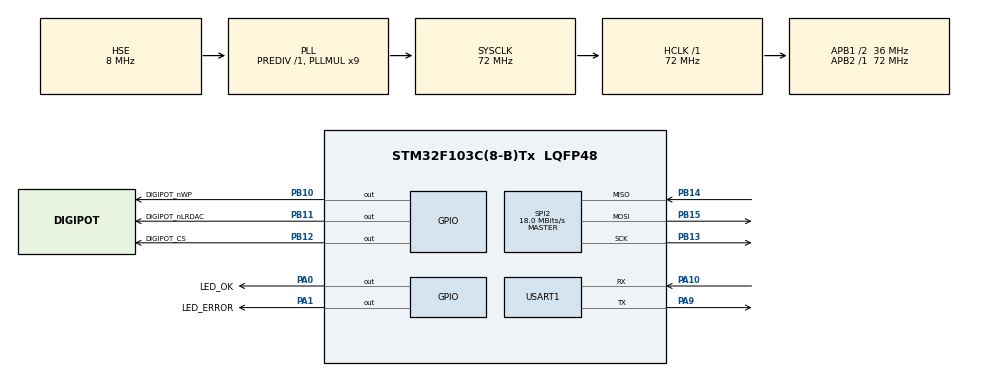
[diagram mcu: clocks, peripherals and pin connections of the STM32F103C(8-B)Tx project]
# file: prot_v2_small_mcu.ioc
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Mcu.Family=STM32F1
Mcu.Name=STM32F103C(8-B)Tx
Mcu.Package=LQFP48
NVIC.PriorityGroup=NVIC_PRIORITYGROUP_4
NVIC.USART1_IRQn=true\:0\:0\:false\:false\:true\:true\:true\:true
PA0-WKUP.GPIO_Label=LED_OK
PA0-WKUP.Signal=GPIO_Output
PA1.GPIO_Label=LED_ERROR
PA1.Signal=GPIO_Output
PA10.Mode=Asynchronous
PA10.Signal=USART1_RX
PA13.Mode=Serial_Wire
PA13.Signal=SYS_JTMS-SWDIO
PA14.Mode=Serial_Wire
PA14.Signal=SYS_JTCK-SWCLK
PA9.Mode=Asynchronous
PA9.Signal=USART1_TX
PB10.GPIO_Label=DIGIPOT_nWP
PB10.Signal=GPIO_Output
PB11.GPIO_Label=DIGIPOT_nLRDAC
PB11.Signal=GPIO_Output
PB12.GPIO_Label=DIGIPOT_CS
PB12.Signal=GPIO_Output
PB13.Mode=Full_Duplex_Master
PB13.Signal=SPI2_SCK
PB14.Mode=Full_Duplex_Master
PB14.Signal=SPI2_MISO
PB15.Mode=Full_Duplex_Master
PB15.Signal=SPI2_MOSI
PD0-OSC_IN.Mode=HSE-External-Oscillator
PD0-OSC_IN.Signal=RCC_OSC_IN
PD1-OSC_OUT.Mode=HSE-External-Oscillator
PD1-OSC_OUT.Signal=RCC_OSC_OUT
ProjectManager.HeapSize=0x200
ProjectManager.StackSize=0x400
ProjectManager.TargetToolchain=STM32CubeIDE
RCC.AHBFreq_Value=72000000
RCC.APB1CLKDivider=RCC_HCLK_DIV2
RCC.APB1Freq_Value=36000000
RCC.APB1TimFreq_Value=72000000
RCC.APB2Freq_Value=72000000
RCC.APB2TimFreq_Value=72000000
RCC.HCLKFreq_Value=72000000
RCC.PLLMUL=RCC_PLL_MUL9
RCC.PLLSourceVirtual=RCC_PLLSOURCE_HSE
RCC.SYSCLKFreq_VALUE=72000000
RCC.SYSCLKSource=RCC_SYSCLKSOURCE_PLLCLK
RCC.USBFreq_Value=72000000
SPI2.BaudRatePrescaler=SPI_BAUDRATEPRESCALER_2
SPI2.CLKPhase=SPI_PHASE_2EDGE
SPI2.CalculateBaudRate=18.0 MBits/s
SPI2.Direction=SPI_DIRECTION_2LINES
SPI2.Mode=SPI_MODE_MASTER
SPI2.VirtualType=VM_MASTER
USART1.VirtualMode=VM_ASYNC
board=custom

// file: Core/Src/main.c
/* USER CODE BEGIN Header */
/**
 ******************************************************************************
 * @file           : main.c
 * @brief          : Main program body
 ******************************************************************************
 * @attention
 *
 * Copyright (c) 2024 STMicroelectronics.
 * All rights reserved.
 *
 * This software is licensed under terms that can be found in the LICENSE file
 * in the root directory of this software component.
 * If no LICENSE file comes with this software, it is provided AS-IS.
 *
 ******************************************************************************
 */
/* USER CODE END Header */
#include "main.h"

SPI_HandleTypeDef hspi2;

UART_HandleTypeDef huart1;

/* USER CODE BEGIN PV */
uint8_t res_val = 0;
uint8_t usart_com[2] = {0,0};

/* USER CODE END PV */

void SystemClock_Config(void);
static void MX_GPIO_Init(void);
static void MX_USART1_UART_Init(void);
static void MX_SPI2_Init(void);

/* USER CODE BEGIN 0 */
void DIGIPOT_Write(void)
{
	uint8_t init_word[2] = {0xD0, 0xC};
	HAL_GPIO_WritePin(DIGIPOT_CS_GPIO_Port, DIGIPOT_CS_Pin, 0);
	HAL_Delay(1);
	HAL_GPIO_WritePin(DIGIPOT_CS_GPIO_Port, DIGIPOT_CS_Pin, 1);
	HAL_Delay(1);
	HAL_GPIO_WritePin(DIGIPOT_CS_GPIO_Port, DIGIPOT_CS_Pin, 0);
	uint8_t code_word[2] = {0x10, res_val};
	HAL_GPIO_WritePin(DIGIPOT_CS_GPIO_Port, DIGIPOT_CS_Pin, 0);
	HAL_Delay(1);
	HAL_SPI_Transmit(&hspi2, code_word, 2,100);
	HAL_GPIO_WritePin(DIGIPOT_CS_GPIO_Port, DIGIPOT_CS_Pin, 1);
}

void HAL_UARTEx_RxEventCallback(UART_HandleTypeDef *huart,uint16_t Size)
{
	if (huart->Instance == USART1 && (usart_com[0] == 0x7e))
	{
		res_val = usart_com[1];
		uint8_t ack = 0x3f;
		DIGIPOT_Write();
		HAL_GPIO_WritePin(LED_ERROR_GPIO_Port,LED_ERROR_Pin,GPIO_PIN_SET);
		HAL_UART_Transmit(huart, &ack, 1, 100);

		memset(usart_com,0,2);

		HAL_UARTEx_ReceiveToIdle_IT(&huart1,usart_com,2);
		HAL_GPIO_WritePin(LED_ERROR_GPIO_Port,LED_ERROR_Pin,GPIO_PIN_RESET);

	}
}

void MCU_init(void)
{
	  HAL_GPIO_WritePin(LED_OK_GPIO_Port,LED_OK_Pin,GPIO_PIN_SET);
	  HAL_GPIO_WritePin(LED_ERROR_GPIO_Port,LED_ERROR_Pin,GPIO_PIN_SET);
	  HAL_Delay(2000);
	  HAL_GPIO_WritePin(LED_ERROR_GPIO_Port,LED_ERROR_Pin,GPIO_PIN_RESET);
}

/* USER CODE END 0 */

int main(void)
{

	/* MCU Configuration--------------------------------------------------------*/

	/* Reset of all peripherals, Initializes the Flash interface and the Systick. */
	HAL_Init();

	/* Configure the system clock */
	SystemClock_Config();

	/* Initialize all configured peripherals */
	MX_GPIO_Init();
	MX_USART1_UART_Init();
	MX_SPI2_Init();
	/* USER CODE BEGIN 2 */
	MCU_init();
	HAL_UARTEx_ReceiveToIdle_IT(&huart1,usart_com,2);
	/* USER CODE END 2 */

	/* Infinite loop */
	while (1)
	{

	}
}

void SystemClock_Config(void)
{
	RCC_OscInitTypeDef RCC_OscInitStruct = {0};
	RCC_ClkInitTypeDef RCC_ClkInitStruct = {0};

	/** Initializes the RCC Oscillators according to the specified parameters
	 * in the RCC_OscInitTypeDef structure.
	 */
	RCC_OscInitStruct.OscillatorType = RCC_OSCILLATORTYPE_HSE;
	RCC_OscInitStruct.HSEState = RCC_HSE_ON;
	RCC_OscInitStruct.HSEPredivValue = RCC_HSE_PREDIV_DIV1;
	RCC_OscInitStruct.HSIState = RCC_HSI_ON;
	RCC_OscInitStruct.PLL.PLLState = RCC_PLL_ON;
	RCC_OscInitStruct.PLL.PLLSource = RCC_PLLSOURCE_HSE;
	RCC_OscInitStruct.PLL.PLLMUL = RCC_PLL_MUL9;
	if (HAL_RCC_OscConfig(&RCC_OscInitStruct) != HAL_OK)
	{
		Error_Handler();
	}

	/** Initializes the CPU, AHB and APB buses clocks
	 */
	RCC_ClkInitStruct.ClockType = RCC_CLOCKTYPE_HCLK|RCC_CLOCKTYPE_SYSCLK
			|RCC_CLOCKTYPE_PCLK1|RCC_CLOCKTYPE_PCLK2;
	RCC_ClkInitStruct.SYSCLKSource = RCC_SYSCLKSOURCE_PLLCLK;
	RCC_ClkInitStruct.AHBCLKDivider = RCC_SYSCLK_DIV1;
	RCC_ClkInitStruct.APB1CLKDivider = RCC_HCLK_DIV2;
	RCC_ClkInitStruct.APB2CLKDivider = RCC_HCLK_DIV1;

	if (HAL_RCC_ClockConfig(&RCC_ClkInitStruct, FLASH_LATENCY_2) != HAL_OK)
	{
		Error_Handler();
	}
}

static void MX_SPI2_Init(void)
{

	/* SPI2 parameter configuration*/
	hspi2.Instance = SPI2;
	hspi2.Init.Mode = SPI_MODE_MASTER;
	hspi2.Init.Direction = SPI_DIRECTION_2LINES;
	hspi2.Init.DataSize = SPI_DATASIZE_8BIT;
	hspi2.Init.CLKPolarity = SPI_POLARITY_LOW;
	hspi2.Init.CLKPhase = SPI_PHASE_2EDGE;
	hspi2.Init.NSS = SPI_NSS_SOFT;
	hspi2.Init.BaudRatePrescaler = SPI_BAUDRATEPRESCALER_2;
	hspi2.Init.FirstBit = SPI_FIRSTBIT_MSB;
	hspi2.Init.TIMode = SPI_TIMODE_DISABLE;
	hspi2.Init.CRCCalculation = SPI_CRCCALCULATION_DISABLE;
	hspi2.Init.CRCPolynomial = 10;
	if (HAL_SPI_Init(&hspi2) != HAL_OK)
	{
		Error_Handler();
	}

}

static void MX_USART1_UART_Init(void)
{

	huart1.Instance = USART1;
	huart1.Init.BaudRate = 115200;
	huart1.Init.WordLength = UART_WORDLENGTH_8B;
	huart1.Init.StopBits = UART_STOPBITS_1;
	huart1.Init.Parity = UART_PARITY_NONE;
	huart1.Init.Mode = UART_MODE_TX_RX;
	huart1.Init.HwFlowCtl = UART_HWCONTROL_NONE;
	huart1.Init.OverSampling = UART_OVERSAMPLING_16;
	if (HAL_UART_Init(&huart1) != HAL_OK)
	{
		Error_Handler();
	}

}

static void MX_GPIO_Init(void)
{
	GPIO_InitTypeDef GPIO_InitStruct = {0};

	/* GPIO Ports Clock Enable */
	__HAL_RCC_GPIOD_CLK_ENABLE();
	__HAL_RCC_GPIOA_CLK_ENABLE();
	__HAL_RCC_GPIOB_CLK_ENABLE();

	/*Configure GPIO pin Output Level */
	HAL_GPIO_WritePin(GPIOA, LED_OK_Pin|LED_ERROR_Pin, GPIO_PIN_RESET);

	/*Configure GPIO pin Output Level */
	HAL_GPIO_WritePin(GPIOB, DIGIPOT_nWP_Pin|DIGIPOT_nLRDAC_Pin|DIGIPOT_CS_Pin, GPIO_PIN_RESET);

	/*Configure GPIO pins : LED_OK_Pin LED_ERROR_Pin */
	GPIO_InitStruct.Pin = LED_OK_Pin|LED_ERROR_Pin;
	GPIO_InitStruct.Mode = GPIO_MODE_OUTPUT_PP;
	GPIO_InitStruct.Pull = GPIO_NOPULL;
	GPIO_InitStruct.Speed = GPIO_SPEED_FREQ_LOW;
	HAL_GPIO_Init(GPIOA, &GPIO_InitStruct);

	/*Configure GPIO pins : DIGIPOT_nWP_Pin DIGIPOT_nLRDAC_Pin DIGIPOT_CS_Pin */
	GPIO_InitStruct.Pin = DIGIPOT_nWP_Pin|DIGIPOT_nLRDAC_Pin|DIGIPOT_CS_Pin;
	GPIO_InitStruct.Mode = GPIO_MODE_OUTPUT_PP;
	GPIO_InitStruct.Pull = GPIO_NOPULL;
	GPIO_InitStruct.Speed = GPIO_SPEED_FREQ_LOW;
	HAL_GPIO_Init(GPIOB, &GPIO_InitStruct);

}

void Error_Handler(void)
{
	__disable_irq();
	while (1)
	{
	}
}
